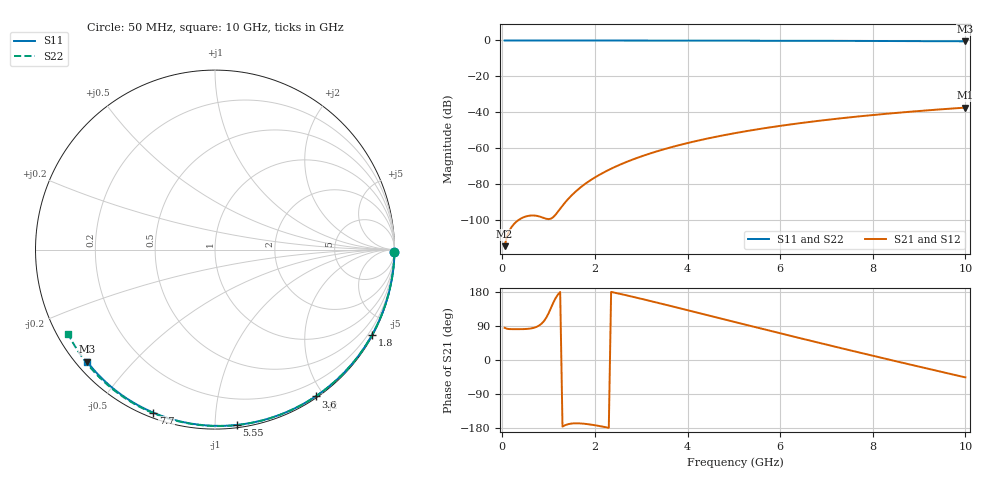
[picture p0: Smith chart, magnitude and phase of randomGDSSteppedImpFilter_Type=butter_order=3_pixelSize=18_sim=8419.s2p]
! freq	dB(S11)	phase(S11)	dB(S12)	phase(S12)
!  dB(S21)	phase(S21)	dB(S22)	phase(S22)
!S-par simulation data
#  GHz  S  DB  R 50
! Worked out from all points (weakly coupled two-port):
!   200 points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, 50 MHz to 10 GHz, reference 50 ohm
!   highest |S21| = -37.46 dB at 10 GHz (marker M1); lowest = -114.7 dB at 50 MHz (marker M2)
!   lowest |S11| = -0.5 dB at 10 GHz (marker M3), VSWR 36.88, Z = 1.55 - j18.8 ohm
!   |S11| at or under -10 dB: nowhere
!   |S22| runs from -0.5 to 0.0 dB; largest |S21 - S12| = 0
!   S11 on the Smith chart (normalised r, x): 50 MHz: open; 1.8 GHz: 0.03, -3.94; 3.6 GHz: 0.02, -1.90; 5.55 GHz: 0.02, -1.13; 7.7 GHz: 0.02, -0.69; 10 GHz: 0.03, -0.38
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0.05  -0.00 -0.8  -114.73 85.0  -114.73 85.0  -0.00 -0.9
0.45  -0.01 -7.2  -98.71 81.5  -98.71 81.5  -0.01 -7.8
0.9  -0.02 -14.4  -99.02 102.7  -99.02 102.7  -0.02 -15.6
1.3  -0.03 -20.7  -92.16 -175.8  -92.16 -175.8  -0.03 -22.4
1.75  -0.04 -27.7  -80.74 -168.0  -80.74 -168.0  -0.04 -30.0
1.8  -0.04 -28.5  -79.79 -168.6  -79.79 -168.6  -0.04 -30.9
1.95  -0.04 -30.8  -77.18 -171.1  -77.18 -171.1  -0.04 -33.4
2.1  -0.04 -33.1  -74.89 -174.2  -74.89 -174.2  -0.05 -35.9
2.3  -0.05 -36.2  -72.15 -179.0  -72.15 -179.0  -0.05 -39.2
2.5  -0.05 -39.2  -69.74 175.7  -69.74 175.7  -0.05 -42.5
2.9  -0.06 -45.2  -65.60 164.4  -65.60 164.4  -0.06 -49.0
3.4  -0.07 -52.7  -61.36 149.7  -61.36 149.7  -0.08 -57.0
3.6  -0.08 -55.6  -59.88 143.6  -59.88 143.6  -0.08 -60.1
4.3  -0.09 -65.7  -55.42 122.3  -55.42 122.3  -0.10 -71.0
5.05  -0.12 -76.1  -51.57 99.4  -51.57 99.4  -0.13 -82.2
5.55  -0.14 -82.9  -49.38 84.2  -49.38 84.2  -0.15 -89.5
6.1  -0.16 -90.3  -47.27 67.5  -47.27 67.5  -0.17 -97.4
6.7  -0.19 -98.1  -45.23 49.5  -45.23 49.5  -0.21 -105.8
7.7  -0.25 -110.7  -42.35 20.0  -42.35 20.0  -0.27 -119.4
8.35  -0.30 -118.8  -40.75 1.1  -40.75 1.1  -0.33 -128.1
9.2  -0.38 -129.1  -38.93 -23.3  -38.93 -23.3  -0.41 -139.4
10  -0.47 -138.8  -37.46 -45.9  -37.46 -45.9  -0.51 -150.1
